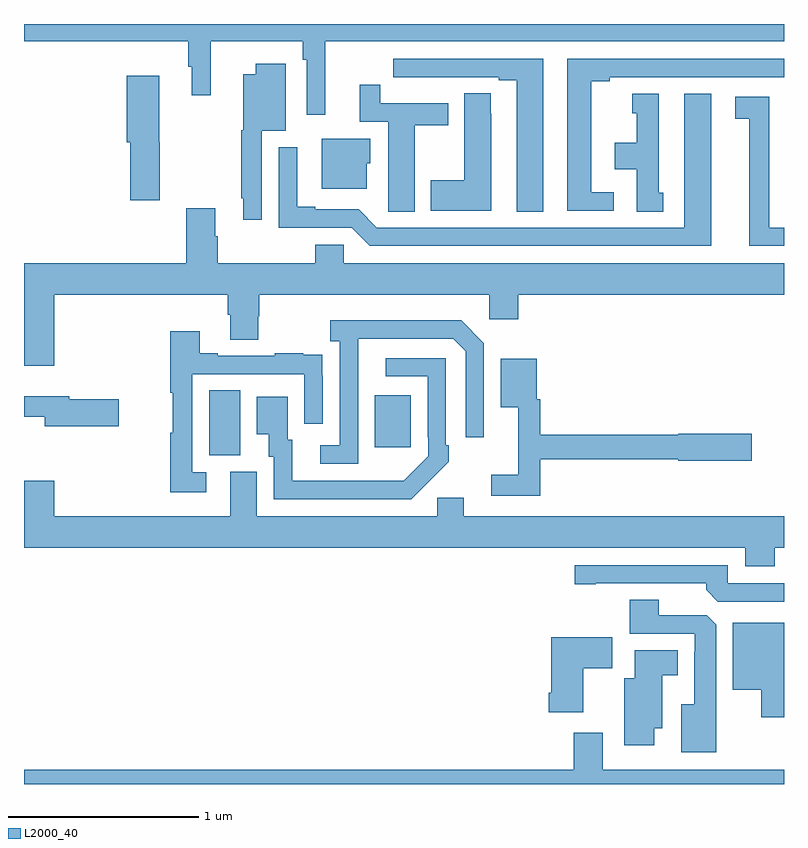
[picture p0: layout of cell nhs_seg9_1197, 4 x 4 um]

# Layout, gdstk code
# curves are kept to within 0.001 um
import gdstk
lib = gdstk.Library(unit=1e-6, precision=1e-09)
def R(c, l, rs):  # rectangles x0, y0, x1, y1
    for r in rs: c.add(gdstk.rectangle(r[:2], r[2:], *l))
def P(c, l, *ps):  # polygons
    for p in ps: c.add(gdstk.Polygon(p, *l))
L2000_40 = (2000, 40)

nhs_seg9_1197 = lib.new_cell('nhs_seg9_1197')
R(nhs_seg9_1197, L2000_40, [(177.974,1206.229,178.138,1206.572), (178.847,1206.273,179.035,1206.547)])
P(nhs_seg9_1197, L2000_40, [(178.586,1208.408),(181,1208.408),(181,1208.5),(177,1208.5),(177,1208.408),(177.865,1208.408),(177.865,1208.274),(177.884,1208.274),(177.884,1208.124),(177.984,1208.124),(177.984,1208.408),(178.468,1208.408),(178.468,1208.312),(178.488,1208.312),(178.488,1208.022),(178.586,1208.022)],
  [(179.734,1208.316),(178.944,1208.316),(178.944,1208.22),(179.056,1208.22),(179.056,1208.219),(179.222,1208.219),(179.222,1208.22),(179.498,1208.22),(179.498,1208.205),(179.594,1208.205),(179.594,1207.513),(179.734,1207.513)],
  [(180.103,1207.614),(179.986,1207.614),(179.986,1208.2),(180.082,1208.2),(180.082,1208.22),(181,1208.22),(181,1208.316),(179.858,1208.316),(179.858,1207.518),(180.103,1207.518)],
  [(178.251,1207.937),(178.378,1207.937),(178.378,1208.29),(178.22,1208.29),(178.22,1208.236),(178.154,1208.236),(178.154,1207.941),(178.143,1207.941),(178.143,1207.582),(178.154,1207.582),(178.154,1207.47),(178.251,1207.47)],
  [(177.714,1207.878),(177.712,1207.878),(177.712,1208.227),(177.542,1208.227),(177.542,1207.878),(177.56,1207.878),(177.56,1207.572),(177.714,1207.572)],
  [(179.056,1207.966),(179.233,1207.966),(179.233,1208.082),(178.874,1208.082),(178.874,1208.179),(178.766,1208.179),(178.766,1207.986),(178.916,1207.986),(178.916,1207.624),(178.917,1207.624),(178.917,1207.513),(179.056,1207.513)],
  [(179.458,1208.027),(179.457,1208.027),(179.457,1208.135),(179.318,1208.135),(179.318,1207.677),(179.141,1207.677),(179.141,1207.517),(179.458,1207.517)],
  [(180.616,1208.134),(180.476,1208.134),(180.476,1207.428),(178.857,1207.428),(178.761,1207.524),(178.534,1207.524),(178.534,1207.537),(178.438,1207.537),(178.438,1207.852),(178.341,1207.852),(178.341,1207.428),(178.725,1207.428),(178.821,1207.332),(180.616,1207.332)],
  [(180.364,1207.611),(180.34,1207.611),(180.34,1208.134),(180.2,1208.134),(180.2,1208.031),(180.224,1208.031),(180.224,1207.876),(180.11,1207.876),(180.11,1207.736),(180.224,1207.736),(180.224,1207.513),(180.364,1207.513)],
  [(181,1207.428),(180.922,1207.428),(180.922,1208.118),(180.744,1208.118),(180.744,1208.002),(180.818,1208.002),(180.818,1207.332),(181,1207.332)],
  [(178.804,1207.767),(178.822,1207.767),(178.822,1207.897),(178.568,1207.897),(178.568,1207.634),(178.804,1207.634)],
  [(177.16,1207.076),(178.073,1207.076),(178.073,1206.97),(178.085,1206.97),(178.085,1206.838),(178.233,1206.838),(178.233,1206.963),(178.238,1206.963),(178.238,1207.076),(179.448,1207.076),(179.448,1206.945),(179.6,1206.945),(179.6,1207.076),(181,1207.076),(181,1207.24),(178.683,1207.24),(178.683,1207.338),(178.532,1207.338),(178.532,1207.24),(178.019,1207.24),(178.019,1207.382),(178.006,1207.382),(178.006,1207.531),(177.854,1207.531),(177.854,1207.24),(177,1207.24),(177,1206.702),(177.16,1206.702)],
  [(178.758,1206.643),(178.759,1206.843),(179.259,1206.843),(179.325,1206.777),(179.325,1206.324),(179.421,1206.324),(179.421,1206.819),(179.3,1206.94),(178.611,1206.94),(178.611,1206.83),(178.662,1206.83),(178.662,1206.282),(178.56,1206.282),(178.56,1206.186),(178.758,1206.186)],
  [(177.958,1206.141),(177.885,1206.141),(177.885,1206.657),(178.476,1206.657),(178.476,1206.396),(178.572,1206.396),(178.572,1206.65),(178.571,1206.65),(178.571,1206.759),(178.469,1206.759),(178.469,1206.766),(178.321,1206.766),(178.321,1206.753),(178.021,1206.753),(178.021,1206.766),(177.925,1206.766),(177.925,1206.883),(177.769,1206.883),(177.769,1206.56),(177.784,1206.56),(177.784,1206.348),(177.769,1206.348),(177.769,1206.036),(177.958,1206.036)],
  [(179.129,1206.091),(179.13,1206.09),(179.235,1206.195),(179.235,1206.283),(179.22,1206.283),(179.22,1206.741),(178.905,1206.741),(178.905,1206.645),(179.124,1206.645),(179.124,1206.325),(179.127,1206.325),(179.127,1206.225),(178.999,1206.097),(178.411,1206.096),(178.411,1206.312),(178.387,1206.312),(178.387,1206.538),(178.226,1206.538),(178.226,1206.341),(178.289,1206.341),(178.289,1206.222),(178.314,1206.222),(178.314,1206),(179.038,1206)],
  [(179.717,1206.21),(180.444,1206.21),(180.444,1206.202),(180.829,1206.202),(180.829,1206.344),(180.444,1206.344),(180.444,1206.338),(179.717,1206.338),(179.717,1206.525),(179.698,1206.525),(179.698,1206.739),(179.51,1206.739),(179.51,1206.482),(179.6,1206.482),(179.6,1206.127),(179.46,1206.127),(179.46,1206.018),(179.717,1206.018)],
  [(177.499,1206.524),(177.238,1206.524),(177.238,1206.541),(177,1206.541),(177,1206.432),(177.11,1206.432),(177.11,1206.382),(177.499,1206.382)],
  [(180.95,1205.744),(181,1205.744),(181,1205.908),(179.314,1205.908),(179.314,1206.006),(179.175,1206.006),(179.175,1205.908),(178.225,1205.908),(178.225,1206.144),(178.085,1206.144),(178.085,1205.908),(177.16,1205.908),(177.16,1206.097),(177,1206.097),(177,1205.744),(180.797,1205.744),(180.797,1205.645),(180.95,1205.645)],
  [(181,1205.556),(180.705,1205.556),(180.705,1205.652),(179.898,1205.652),(179.898,1205.551),(180.01,1205.551),(180.01,1205.556),(180.59,1205.556),(180.59,1205.522),(180.651,1205.46),(181,1205.46)],
  [(180.643,1205.339),(180.594,1205.388),(180.34,1205.388),(180.34,1205.471),(180.188,1205.471),(180.188,1205.292),(180.531,1205.292),(180.531,1205.195),(180.527,1205.195),(180.527,1204.921),(180.458,1204.921),(180.458,1204.667),(180.643,1204.667)],
  [(181,1205.35),(180.731,1205.35),(180.731,1204.997),(180.881,1204.997),(180.881,1204.851),(181,1204.851)],
  [(179.944,1205.11),(180.097,1205.11),(180.097,1205.272),(179.774,1205.272),(179.774,1204.981),(179.762,1204.981),(179.762,1204.877),(179.944,1204.877)],
  [(180.316,1204.793),(180.358,1204.793),(180.358,1205.072),(180.442,1205.072),(180.442,1205.203),(180.215,1205.203),(180.215,1205.056),(180.158,1205.056),(180.158,1204.704),(180.316,1204.704)],
  [(181,1204.576),(180.046,1204.576),(180.046,1204.771),(179.894,1204.771),(179.894,1204.576),(177,1204.576),(177,1204.5),(181,1204.5)])

lib.write_gds('nhs_seg9_1197.gds')
